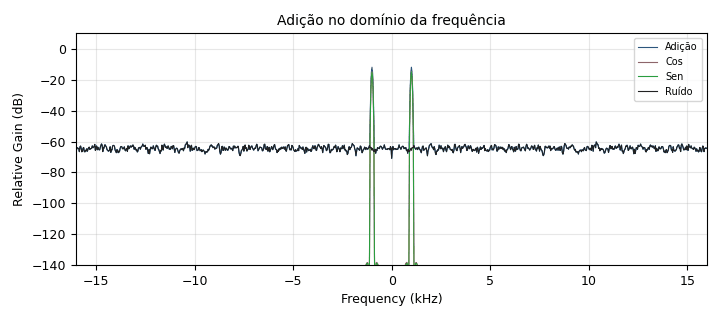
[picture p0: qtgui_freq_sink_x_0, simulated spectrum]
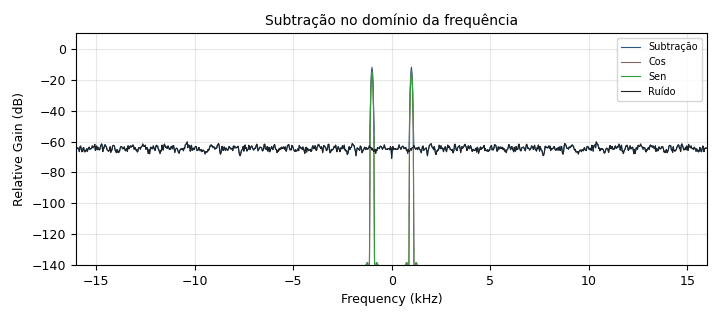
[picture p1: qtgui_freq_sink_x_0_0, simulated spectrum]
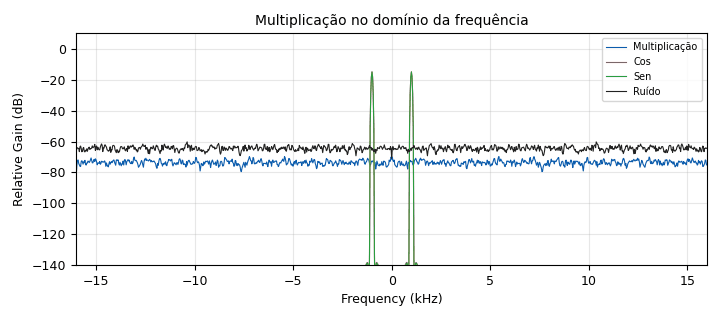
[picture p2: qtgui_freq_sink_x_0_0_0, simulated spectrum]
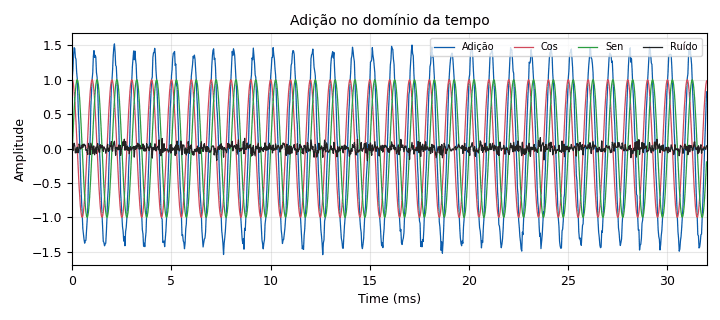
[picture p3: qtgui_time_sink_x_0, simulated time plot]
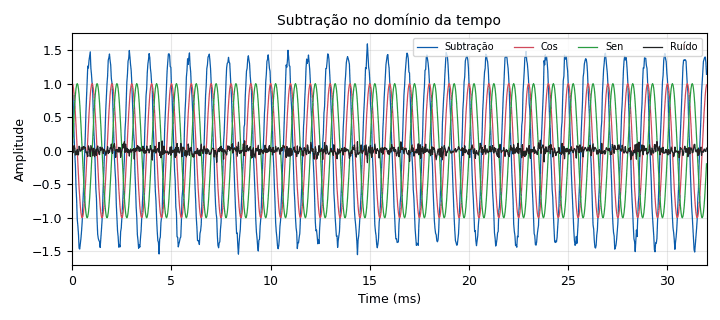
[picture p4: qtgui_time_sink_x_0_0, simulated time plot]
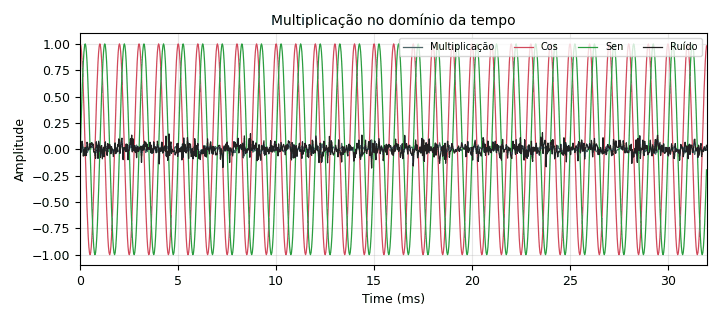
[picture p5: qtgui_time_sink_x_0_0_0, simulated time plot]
<?xml version='1.0' encoding='utf-8'?>
<?grc format='1' created='3.7.11'?>
<flow_graph>
<block>
<key>options</key>
<param><key>id</key><value>top_block</value></param>
<param><key>generate_options</key><value>qt_gui</value></param>
</block>
<block>
<key>variable_qtgui_range</key>
<param><key>id</key><value>amp_cos</value></param>
<param><key>value</key><value>1</value></param>
<param><key>gui_hint</key><value>[4, 0, 1, 1]</value></param>
<param><key>orient</key><value>Qt.Horizontal</value></param>
<param><key>start</key><value>0.5</value></param>
<param><key>step</key><value>0.1</value></param>
<param><key>stop</key><value>1</value></param>
</block>
<block>
<key>variable_qtgui_range</key>
<param><key>id</key><value>amp_sen</value></param>
<param><key>value</key><value>1</value></param>
<param><key>gui_hint</key><value>[4, 1, 1, 1]</value></param>
<param><key>orient</key><value>Qt.Horizontal</value></param>
<param><key>start</key><value>0.5</value></param>
<param><key>step</key><value>0.1</value></param>
<param><key>stop</key><value>1</value></param>
</block>
<block>
<key>variable_qtgui_range</key>
<param><key>id</key><value>freq_cos</value></param>
<param><key>value</key><value>1000</value></param>
<param><key>gui_hint</key><value>[3, 0, 1, 1]</value></param>
<param><key>orient</key><value>Qt.Horizontal</value></param>
<param><key>start</key><value>100</value></param>
<param><key>step</key><value>100</value></param>
<param><key>stop</key><value>10000</value></param>
</block>
<block>
<key>variable_qtgui_range</key>
<param><key>id</key><value>freq_sen</value></param>
<param><key>value</key><value>1000</value></param>
<param><key>gui_hint</key><value>[3, 1, 1, 1]</value></param>
<param><key>orient</key><value>Qt.Horizontal</value></param>
<param><key>start</key><value>100</value></param>
<param><key>step</key><value>100</value></param>
<param><key>stop</key><value>10000</value></param>
</block>
<block>
<key>variable_qtgui_range</key>
<param><key>id</key><value>ruido</value></param>
<param><key>value</key><value>0.05</value></param>
<param><key>gui_hint</key><value>[3, 2, 1, 1]</value></param>
<param><key>orient</key><value>Qt.Horizontal</value></param>
<param><key>start</key><value>0</value></param>
<param><key>step</key><value>0.001</value></param>
<param><key>stop</key><value>1</value></param>
</block>
<block>
<key>variable</key>
<param><key>id</key><value>samp_rate</value></param>
<param><key>value</key><value>32000</value></param>
</block>
<block>
<key>analog_noise_source_x</key>
<param><key>id</key><value>analog_noise_source_x_0</value></param>
<param><key>amp</key><value>ruido</value></param>
<param><key>noise_type</key><value>analog.GR_GAUSSIAN</value></param>
<param><key>type</key><value>float</value></param>
<param><key>seed</key><value>0</value></param>
</block>
<block>
<key>analog_sig_source_x</key>
<param><key>id</key><value>analog_sig_source_x_0</value></param>
<param><key>amp</key><value>amp_cos</value></param>
<param><key>freq</key><value>freq_cos</value></param>
<param><key>offset</key><value>0</value></param>
<param><key>type</key><value>float</value></param>
<param><key>samp_rate</key><value>samp_rate</value></param>
<param><key>waveform</key><value>analog.GR_COS_WAVE</value></param>
</block>
<block>
<key>analog_sig_source_x</key>
<param><key>id</key><value>analog_sig_source_x_0_0</value></param>
<param><key>amp</key><value>amp_sen</value></param>
<param><key>freq</key><value>freq_sen</value></param>
<param><key>offset</key><value>0</value></param>
<param><key>type</key><value>float</value></param>
<param><key>samp_rate</key><value>samp_rate</value></param>
<param><key>waveform</key><value>analog.GR_SIN_WAVE</value></param>
</block>
<block>
<key>blocks_add_xx</key>
<param><key>id</key><value>blocks_add_xx_0</value></param>
<param><key>type</key><value>float</value></param>
<param><key>num_inputs</key><value>3</value></param>
</block>
<block>
<key>blocks_multiply_xx</key>
<param><key>id</key><value>blocks_multiply_xx_1</value></param>
<param><key>type</key><value>float</value></param>
<param><key>num_inputs</key><value>3</value></param>
</block>
<block>
<key>blocks_sub_xx</key>
<param><key>id</key><value>blocks_sub_xx_0</value></param>
<param><key>type</key><value>float</value></param>
<param><key>num_inputs</key><value>3</value></param>
</block>
<block>
<key>blocks_throttle</key>
<param><key>id</key><value>blocks_throttle_0_0</value></param>
<param><key>samples_per_second</key><value>samp_rate</value></param>
<param><key>type</key><value>float</value></param>
</block>
<block>
<key>blocks_throttle</key>
<param><key>id</key><value>blocks_throttle_0_0_0</value></param>
<param><key>samples_per_second</key><value>samp_rate</value></param>
<param><key>type</key><value>float</value></param>
</block>
<block>
<key>blocks_throttle</key>
<param><key>id</key><value>blocks_throttle_0_0_1</value></param>
<param><key>samples_per_second</key><value>samp_rate</value></param>
<param><key>type</key><value>float</value></param>
</block>
<block>
<key>qtgui_freq_sink_x</key>
<param><key>id</key><value>qtgui_freq_sink_x_0</value></param>
<param><key>average</key><value>0.05</value></param>
<param><key>bw</key><value>samp_rate</value></param>
<param><key>fc</key><value>0</value></param>
<param><key>fftsize</key><value>1024</value></param>
<param><key>gui_hint</key><value>[0, 1 , 1 , 1]</value></param>
<param><key>label1</key><value>Adição</value></param>
<param><key>label2</key><value>Cos</value></param>
<param><key>label3</key><value>Sen</value></param>
<param><key>label4</key><value>Ruído</value></param>
<param><key>name</key><value>"Adição no domínio da frequência"</value></param>
<param><key>nconnections</key><value>4</value></param>
<param><key>showports</key><value>True</value></param>
<param><key>type</key><value>float</value></param>
<param><key>wintype</key><value>firdes.WIN_BLACKMAN_hARRIS</value></param>
</block>
<block>
<key>qtgui_freq_sink_x</key>
<param><key>id</key><value>qtgui_freq_sink_x_0_0</value></param>
<param><key>average</key><value>0.05</value></param>
<param><key>bw</key><value>samp_rate</value></param>
<param><key>fc</key><value>0</value></param>
<param><key>fftsize</key><value>1024</value></param>
<param><key>gui_hint</key><value>[1, 1, 1, 1]</value></param>
<param><key>label1</key><value>Subtração</value></param>
<param><key>label2</key><value>Cos</value></param>
<param><key>label3</key><value>Sen</value></param>
<param><key>label4</key><value>Ruído</value></param>
<param><key>name</key><value>"Subtração no domínio da frequência"</value></param>
<param><key>nconnections</key><value>4</value></param>
<param><key>showports</key><value>True</value></param>
<param><key>type</key><value>float</value></param>
<param><key>wintype</key><value>firdes.WIN_BLACKMAN_hARRIS</value></param>
</block>
<block>
<key>qtgui_freq_sink_x</key>
<param><key>id</key><value>qtgui_freq_sink_x_0_0_0</value></param>
<param><key>average</key><value>0.05</value></param>
<param><key>bw</key><value>samp_rate</value></param>
<param><key>fc</key><value>0</value></param>
<param><key>fftsize</key><value>1024</value></param>
<param><key>gui_hint</key><value>[2, 1, 1, 1]</value></param>
<param><key>label1</key><value>Multiplicação</value></param>
<param><key>label2</key><value>Cos</value></param>
<param><key>label3</key><value>Sen</value></param>
<param><key>label4</key><value>Ruído</value></param>
<param><key>name</key><value>"Multiplicação no domínio da frequência"</value></param>
<param><key>nconnections</key><value>4</value></param>
<param><key>showports</key><value>True</value></param>
<param><key>type</key><value>float</value></param>
<param><key>wintype</key><value>firdes.WIN_BLACKMAN_hARRIS</value></param>
</block>
<block>
<key>qtgui_time_sink_x</key>
<param><key>id</key><value>qtgui_time_sink_x_0</value></param>
<param><key>autoscale</key><value>True</value></param>
<param><key>entags</key><value>False</value></param>
<param><key>gui_hint</key><value>[0, 0, 1, 1]</value></param>
<param><key>color1</key><value>"blue"</value></param>
<param><key>label1</key><value>Adição</value></param>
<param><key>color2</key><value>"red"</value></param>
<param><key>label2</key><value>Cos</value></param>
<param><key>style2</key><value>2</value></param>
<param><key>color3</key><value>"green"</value></param>
<param><key>label3</key><value>Sen</value></param>
<param><key>color4</key><value>"black"</value></param>
<param><key>label4</key><value>Ruído</value></param>
<param><key>name</key><value>"Adição no domínio da tempo"</value></param>
<param><key>nconnections</key><value>4</value></param>
<param><key>size</key><value>1024</value></param>
<param><key>srate</key><value>samp_rate</value></param>
<param><key>type</key><value>float</value></param>
</block>
<block>
<key>qtgui_time_sink_x</key>
<param><key>id</key><value>qtgui_time_sink_x_0_0</value></param>
<param><key>autoscale</key><value>True</value></param>
<param><key>entags</key><value>False</value></param>
<param><key>gui_hint</key><value>[1, 0 , 1, 1]</value></param>
<param><key>color1</key><value>"blue"</value></param>
<param><key>label1</key><value>Subtração</value></param>
<param><key>color2</key><value>"red"</value></param>
<param><key>label2</key><value>Cos</value></param>
<param><key>color3</key><value>"green"</value></param>
<param><key>label3</key><value>Sen</value></param>
<param><key>color4</key><value>"black"</value></param>
<param><key>label4</key><value>Ruído</value></param>
<param><key>name</key><value>"Subtração no domínio da tempo"</value></param>
<param><key>nconnections</key><value>4</value></param>
<param><key>size</key><value>1024</value></param>
<param><key>srate</key><value>samp_rate</value></param>
<param><key>type</key><value>float</value></param>
</block>
<block>
<key>qtgui_time_sink_x</key>
<param><key>id</key><value>qtgui_time_sink_x_0_0_0</value></param>
<param><key>autoscale</key><value>True</value></param>
<param><key>entags</key><value>False</value></param>
<param><key>gui_hint</key><value>[2, 0, 1, 1]</value></param>
<param><key>color1</key><value>"blue"</value></param>
<param><key>label1</key><value>Multiplicação</value></param>
<param><key>color2</key><value>"red"</value></param>
<param><key>label2</key><value>Cos</value></param>
<param><key>color3</key><value>"green"</value></param>
<param><key>label3</key><value>Sen</value></param>
<param><key>color4</key><value>"black"</value></param>
<param><key>label4</key><value>Ruído</value></param>
<param><key>name</key><value>"Multiplicação no domínio da tempo"</value></param>
<param><key>nconnections</key><value>4</value></param>
<param><key>size</key><value>1024</value></param>
<param><key>srate</key><value>samp_rate</value></param>
<param><key>type</key><value>float</value></param>
</block>
<block>
<key>qtgui_waterfall_sink_x</key>
<param><key>id</key><value>qtgui_waterfall_sink_x_0</value></param>
<param><key>bw</key><value>samp_rate</value></param>
<param><key>fc</key><value>0</value></param>
<param><key>fftsize</key><value>1024</value></param>
<param><key>gui_hint</key><value>[2, 2, 1, 1]</value></param>
<param><key>name</key><value>"Espectrograma da multiplicação"</value></param>
<param><key>showports</key><value>True</value></param>
<param><key>type</key><value>float</value></param>
<param><key>wintype</key><value>firdes.WIN_BLACKMAN_hARRIS</value></param>
</block>
<block>
<key>qtgui_waterfall_sink_x</key>
<param><key>id</key><value>qtgui_waterfall_sink_x_0_0</value></param>
<param><key>bw</key><value>samp_rate</value></param>
<param><key>fc</key><value>0</value></param>
<param><key>fftsize</key><value>1024</value></param>
<param><key>gui_hint</key><value>[1, 2, 1, 1]</value></param>
<param><key>name</key><value>"Espectrograma da subtração"</value></param>
<param><key>showports</key><value>True</value></param>
<param><key>type</key><value>float</value></param>
<param><key>wintype</key><value>firdes.WIN_BLACKMAN_hARRIS</value></param>
</block>
<block>
<key>qtgui_waterfall_sink_x</key>
<param><key>id</key><value>qtgui_waterfall_sink_x_0_1</value></param>
<param><key>bw</key><value>samp_rate</value></param>
<param><key>fc</key><value>0</value></param>
<param><key>fftsize</key><value>1024</value></param>
<param><key>gui_hint</key><value>[0, 2, 1, 1]</value></param>
<param><key>name</key><value>"Espectrograma da adição"</value></param>
<param><key>showports</key><value>True</value></param>
<param><key>type</key><value>float</value></param>
<param><key>wintype</key><value>firdes.WIN_BLACKMAN_hARRIS</value></param>
</block>
<connection><source_block_id>analog_noise_source_x_0</source_block_id><sink_block_id>blocks_add_xx_0</sink_block_id><source_key>0</source_key><sink_key>2</sink_key></connection>
<connection><source_block_id>analog_noise_source_x_0</source_block_id><sink_block_id>blocks_multiply_xx_1</sink_block_id><source_key>0</source_key><sink_key>2</sink_key></connection>
<connection><source_block_id>analog_noise_source_x_0</source_block_id><sink_block_id>blocks_sub_xx_0</sink_block_id><source_key>0</source_key><sink_key>2</sink_key></connection>
<connection><source_block_id>analog_noise_source_x_0</source_block_id><sink_block_id>qtgui_freq_sink_x_0</sink_block_id><source_key>0</source_key><sink_key>3</sink_key></connection>
<connection><source_block_id>analog_noise_source_x_0</source_block_id><sink_block_id>qtgui_freq_sink_x_0_0</sink_block_id><source_key>0</source_key><sink_key>3</sink_key></connection>
<connection><source_block_id>analog_noise_source_x_0</source_block_id><sink_block_id>qtgui_freq_sink_x_0_0_0</sink_block_id><source_key>0</source_key><sink_key>3</sink_key></connection>
<connection><source_block_id>analog_noise_source_x_0</source_block_id><sink_block_id>qtgui_time_sink_x_0</sink_block_id><source_key>0</source_key><sink_key>3</sink_key></connection>
<connection><source_block_id>analog_noise_source_x_0</source_block_id><sink_block_id>qtgui_time_sink_x_0_0</sink_block_id><source_key>0</source_key><sink_key>3</sink_key></connection>
<connection><source_block_id>analog_noise_source_x_0</source_block_id><sink_block_id>qtgui_time_sink_x_0_0_0</sink_block_id><source_key>0</source_key><sink_key>3</sink_key></connection>
<connection><source_block_id>analog_sig_source_x_0</source_block_id><sink_block_id>blocks_add_xx_0</sink_block_id><source_key>0</source_key><sink_key>0</sink_key></connection>
<connection><source_block_id>analog_sig_source_x_0</source_block_id><sink_block_id>blocks_multiply_xx_1</sink_block_id><source_key>0</source_key><sink_key>0</sink_key></connection>
<connection><source_block_id>analog_sig_source_x_0</source_block_id><sink_block_id>blocks_sub_xx_0</sink_block_id><source_key>0</source_key><sink_key>0</sink_key></connection>
<connection><source_block_id>analog_sig_source_x_0</source_block_id><sink_block_id>qtgui_freq_sink_x_0</sink_block_id><source_key>0</source_key><sink_key>1</sink_key></connection>
<connection><source_block_id>analog_sig_source_x_0</source_block_id><sink_block_id>qtgui_freq_sink_x_0_0</sink_block_id><source_key>0</source_key><sink_key>1</sink_key></connection>
<connection><source_block_id>analog_sig_source_x_0</source_block_id><sink_block_id>qtgui_freq_sink_x_0_0_0</sink_block_id><source_key>0</source_key><sink_key>1</sink_key></connection>
<connection><source_block_id>analog_sig_source_x_0</source_block_id><sink_block_id>qtgui_time_sink_x_0</sink_block_id><source_key>0</source_key><sink_key>1</sink_key></connection>
<connection><source_block_id>analog_sig_source_x_0</source_block_id><sink_block_id>qtgui_time_sink_x_0_0</sink_block_id><source_key>0</source_key><sink_key>1</sink_key></connection>
<connection><source_block_id>analog_sig_source_x_0</source_block_id><sink_block_id>qtgui_time_sink_x_0_0_0</sink_block_id><source_key>0</source_key><sink_key>1</sink_key></connection>
<connection><source_block_id>analog_sig_source_x_0_0</source_block_id><sink_block_id>blocks_add_xx_0</sink_block_id><source_key>0</source_key><sink_key>1</sink_key></connection>
<connection><source_block_id>analog_sig_source_x_0_0</source_block_id><sink_block_id>blocks_multiply_xx_1</sink_block_id><source_key>0</source_key><sink_key>1</sink_key></connection>
<connection><source_block_id>analog_sig_source_x_0_0</source_block_id><sink_block_id>blocks_sub_xx_0</sink_block_id><source_key>0</source_key><sink_key>1</sink_key></connection>
<connection><source_block_id>analog_sig_source_x_0_0</source_block_id><sink_block_id>qtgui_freq_sink_x_0</sink_block_id><source_key>0</source_key><sink_key>2</sink_key></connection>
<connection><source_block_id>analog_sig_source_x_0_0</source_block_id><sink_block_id>qtgui_freq_sink_x_0_0</sink_block_id><source_key>0</source_key><sink_key>2</sink_key></connection>
<connection><source_block_id>analog_sig_source_x_0_0</source_block_id><sink_block_id>qtgui_freq_sink_x_0_0_0</sink_block_id><source_key>0</source_key><sink_key>2</sink_key></connection>
<connection><source_block_id>analog_sig_source_x_0_0</source_block_id><sink_block_id>qtgui_time_sink_x_0</sink_block_id><source_key>0</source_key><sink_key>2</sink_key></connection>
<connection><source_block_id>analog_sig_source_x_0_0</source_block_id><sink_block_id>qtgui_time_sink_x_0_0</sink_block_id><source_key>0</source_key><sink_key>2</sink_key></connection>
<connection><source_block_id>analog_sig_source_x_0_0</source_block_id><sink_block_id>qtgui_time_sink_x_0_0_0</sink_block_id><source_key>0</source_key><sink_key>2</sink_key></connection>
<connection><source_block_id>blocks_add_xx_0</source_block_id><sink_block_id>blocks_throttle_0_0_0</sink_block_id><source_key>0</source_key><sink_key>0</sink_key></connection>
<connection><source_block_id>blocks_multiply_xx_1</source_block_id><sink_block_id>blocks_throttle_0_0_1</sink_block_id><source_key>0</source_key><sink_key>0</sink_key></connection>
<connection><source_block_id>blocks_sub_xx_0</source_block_id><sink_block_id>blocks_throttle_0_0</sink_block_id><source_key>0</source_key><sink_key>0</sink_key></connection>
<connection><source_block_id>blocks_throttle_0_0</source_block_id><sink_block_id>qtgui_freq_sink_x_0_0</sink_block_id><source_key>0</source_key><sink_key>0</sink_key></connection>
<connection><source_block_id>blocks_throttle_0_0</source_block_id><sink_block_id>qtgui_time_sink_x_0_0</sink_block_id><source_key>0</source_key><sink_key>0</sink_key></connection>
<connection><source_block_id>blocks_throttle_0_0</source_block_id><sink_block_id>qtgui_waterfall_sink_x_0_0</sink_block_id><source_key>0</source_key><sink_key>0</sink_key></connection>
<connection><source_block_id>blocks_throttle_0_0_0</source_block_id><sink_block_id>qtgui_freq_sink_x_0</sink_block_id><source_key>0</source_key><sink_key>0</sink_key></connection>
<connection><source_block_id>blocks_throttle_0_0_0</source_block_id><sink_block_id>qtgui_time_sink_x_0</sink_block_id><source_key>0</source_key><sink_key>0</sink_key></connection>
<connection><source_block_id>blocks_throttle_0_0_0</source_block_id><sink_block_id>qtgui_waterfall_sink_x_0_1</sink_block_id><source_key>0</source_key><sink_key>0</sink_key></connection>
<connection><source_block_id>blocks_throttle_0_0_1</source_block_id><sink_block_id>qtgui_freq_sink_x_0_0_0</sink_block_id><source_key>0</source_key><sink_key>0</sink_key></connection>
<connection><source_block_id>blocks_throttle_0_0_1</source_block_id><sink_block_id>qtgui_time_sink_x_0_0_0</sink_block_id><source_key>0</source_key><sink_key>0</sink_key></connection>
<connection><source_block_id>blocks_throttle_0_0_1</source_block_id><sink_block_id>qtgui_waterfall_sink_x_0</sink_block_id><source_key>0</source_key><sink_key>0</sink_key></connection>
</flow_graph>
